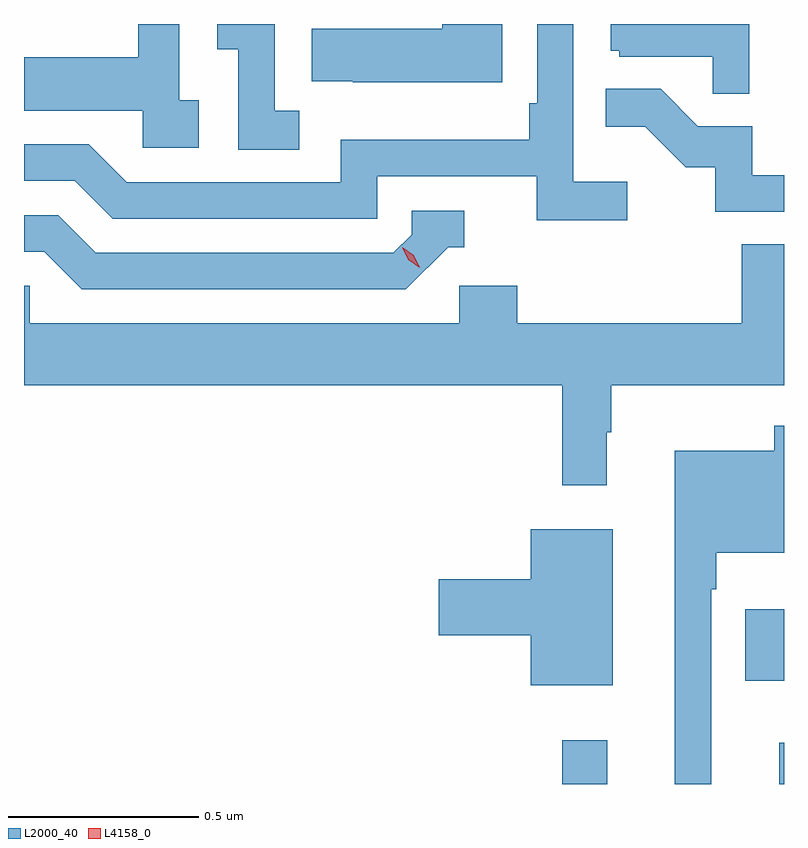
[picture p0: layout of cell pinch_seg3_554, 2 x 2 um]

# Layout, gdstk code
import gdstk
lib = gdstk.Library(unit=1e-6, precision=1e-09)
def R(c, l, rs):  # rectangles x0, y0, x1, y1
    for r in rs: c.add(gdstk.rectangle(r[:2], r[2:], *l))
def P(c, l, *ps):  # polygons
    for p in ps: c.add(gdstk.Polygon(p, *l))
L2000_40 = (2000, 40)
L4158_0 = (4158, 0)

pinch_seg3_554 = lib.new_cell('pinch_seg3_554')
R(pinch_seg3_554, L2000_40, [(1119.151,702.531,1119.269,702.646), (1119.722,702.531,1119.734,702.64), (1119.632,702.803,1119.734,702.991)])
P(pinch_seg3_554, L2000_40, [(1119.322,704.116),(1119.18,704.116),(1119.18,704.531),(1119.084,704.531),(1119.084,704.323),(1119.064,704.323),(1119.064,704.227),(1118.568,704.227),(1118.568,704.115),(1118.004,704.115),(1117.905,704.214),(1117.734,704.214),(1117.734,704.118),(1117.868,704.118),(1117.967,704.019),(1118.664,704.019),(1118.664,704.13),(1119.083,704.13),(1119.083,704.014),(1119.322,704.014)],
  [(1118.194,704.33),(1118.142,704.33),(1118.142,704.531),(1118.034,704.531),(1118.034,704.443),(1117.734,704.443),(1117.734,704.303),(1118.046,704.303),(1118.046,704.205),(1118.194,704.205)],
  [(1119.642,704.531),(1119.278,704.531),(1119.278,704.46),(1119.3,704.46),(1119.3,704.445),(1119.547,704.445),(1119.547,704.347),(1119.642,704.347)],
  [(1118.458,704.303),(1118.394,704.303),(1118.394,704.531),(1118.243,704.531),(1118.243,704.464),(1118.298,704.464),(1118.298,704.2),(1118.458,704.2)],
  [(1118.992,704.531),(1118.834,704.531),(1118.834,704.518),(1118.491,704.518),(1118.491,704.381),(1118.599,704.381),(1118.599,704.378),(1118.992,704.378)],
  [(1119.734,704.133),(1119.651,704.133),(1119.651,704.262),(1119.507,704.262),(1119.409,704.36),(1119.265,704.36),(1119.265,704.261),(1119.369,704.261),(1119.476,704.154),(1119.553,704.154),(1119.553,704.037),(1119.734,704.037)],
  [(1118.85,703.944),(1118.893,703.944),(1118.893,704.04),(1118.754,704.04),(1118.754,703.977),(1118.706,703.929),(1117.923,703.929),(1117.824,704.028),(1117.734,704.028),(1117.734,703.932),(1117.787,703.932),(1117.886,703.833),(1118.739,703.833)],
  [(1119.268,703.457),(1119.28,703.457),(1119.28,703.58),(1119.734,703.58),(1119.734,703.952),(1119.623,703.952),(1119.623,703.744),(1119.032,703.744),(1119.032,703.842),(1118.88,703.842),(1118.88,703.744),(1117.749,703.744),(1117.749,703.842),(1117.734,703.842),(1117.734,703.58),(1119.151,703.58),(1119.151,703.317),(1119.268,703.317)],
  [(1119.543,703.043),(1119.556,703.043),(1119.556,703.139),(1119.734,703.139),(1119.734,703.474),(1119.708,703.474),(1119.708,703.408),(1119.446,703.408),(1119.446,702.531),(1119.543,702.531)],
  [(1119.283,703.201),(1119.068,703.201),(1119.068,703.07),(1118.826,703.07),(1118.826,702.923),(1119.068,702.923),(1119.068,702.791),(1119.283,702.791)])
P(pinch_seg3_554, L4158_0, [(1118.776,703.89),(1118.745,703.91),(1118.73,703.943),(1118.73,703.943),(1118.73,703.943),(1118.76,703.923),(1118.776,703.89),(1118.776,703.89)])

lib.write_gds('pinch_seg3_554.gds')
